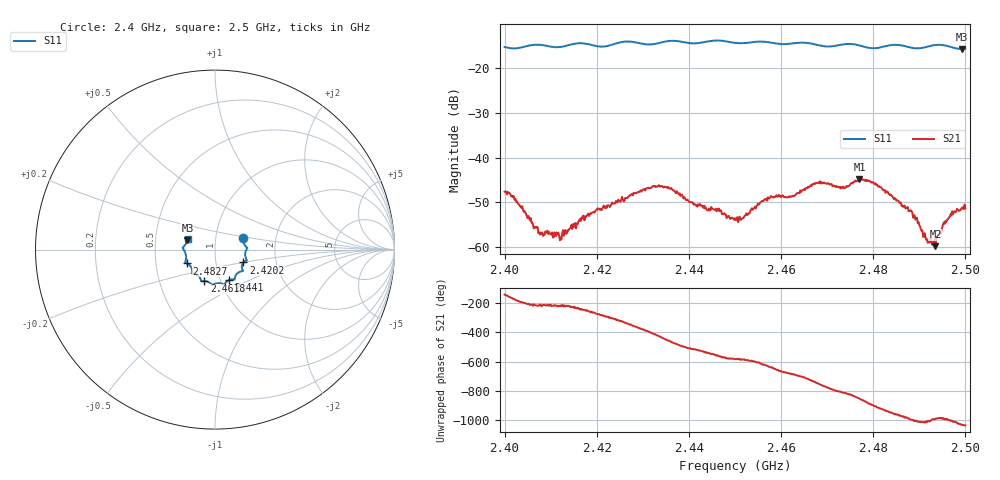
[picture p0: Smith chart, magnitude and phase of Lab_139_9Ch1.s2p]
# Hz S RI R 50
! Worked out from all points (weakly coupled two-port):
!   601 points, 2.4 GHz to 2.5 GHz, reference 50 ohm
!   highest |S21| = -44.78 dB at 2.477 GHz (marker M1); lowest = -59.8 dB at 2.4935 GHz (marker M2)
!   lowest |S11| = -15.8 dB at 2.4993 GHz (marker M3), VSWR 1.39, Z = 36.5 + j3.85 ohm
!   |S11| at or under -10 dB: start of sweep to end of sweep
!   S12 and S22 are empty: the file has one direction only
!   S11 on the Smith chart (normalised r, x): 2.4 GHz: 1.36, +0.18; 2.4202 GHz: 1.36, -0.20; 2.441 GHz: 1.10, -0.39; 2.4618 GHz: 0.84, -0.30; 2.4827 GHz: 0.72, -0.12; 2.5 GHz: 0.73, +0.09
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2.4e9  0.1583 0.0626  -0.00327 -0.00256  0 0  0 0
2.402167e9  0.16 0.0367  -0.00335 -0.000382  0 0  0 0
2.408167e9  0.1791 0.00611  -0.00116 0.000893  0 0  0 0
2.412333e9  0.1685 -0.0318  -0.00102 0.000683  0 0  0 0
2.416667e9  0.1775 -0.0606  -0.00108 0.00184  0 0  0 0
2.420167e9  0.1583 -0.0714  0.000261 0.0027  0 0  0 0
2.433333e9  0.1118 -0.151  0.00214 -0.00433  0 0  0 0
2.441e9  0.0784 -0.1698  -0.00274 -0.0012  0 0  0 0
2.45e9  0.0282 -0.1873  -0.00156 0.00141  0 0  0 0
2.457667e9  -0.0229 -0.1897  0.000474 0.00357  0 0  0 0
2.461833e9  -0.0593 -0.1756  0.00284 0.00237  0 0  0 0
2.466667e9  -0.0786 -0.1682  0.00475 -0.000916  0 0  0 0
2.4735e9  -0.1229 -0.1345  -3.89e-05 -0.00473  0 0  0 0
2.477e9  -0.1266 -0.1244  -0.00383 -0.00431  0 0  0 0
2.482667e9  -0.1562 -0.0774  -0.00333 0.00229  0 0  0 0
2.483333e9  -0.1604 -0.0755  -0.00295 0.0026  0 0  0 0
2.488e9  -0.1611 -0.0496  0.000142 0.00252  0 0  0 0
2.491833e9  -0.1723 -0.00344  0.000374 0.00105  0 0  0 0
2.4935e9  -0.1793 0.00688  -3.03e-05 0.00103  0 0  0 0
2.496667e9  -0.1704 0.0209  0.000508 0.00217  0 0  0 0
2.499333e9  -0.1537 0.0513  0.00179 0.00202  0 0  0 0
2.5e9  -0.1521 0.0608  0.00191 0.00191  0 0  0 0
